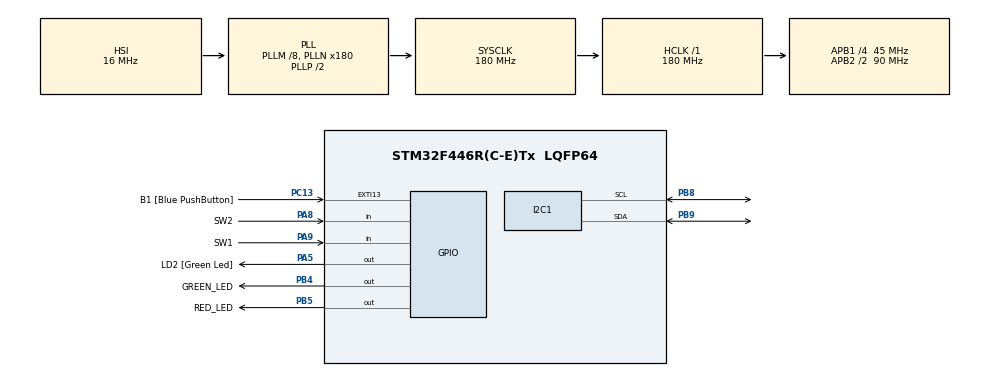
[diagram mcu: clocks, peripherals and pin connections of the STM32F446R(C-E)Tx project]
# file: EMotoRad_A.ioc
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Mcu.Family=STM32F4
Mcu.Name=STM32F446R(C-E)Tx
Mcu.Package=LQFP64
NVIC.PriorityGroup=NVIC_PRIORITYGROUP_4
NVIC.TIM6_DAC_IRQn=true\:15\:0\:false\:false\:true\:false\:true\:true
NVIC.TimeBase=TIM6_DAC_IRQn
NVIC.TimeBaseIP=TIM6
PA13.GPIO_Label=TMS
PA13.Signal=SYS_JTMS-SWDIO
PA14.GPIO_Label=TCK
PA14.Signal=SYS_JTCK-SWCLK
PA2.GPIO_Label=USART_TX
PA2.Signal=USART2_TX
PA3.GPIO_Label=USART_RX
PA3.Signal=USART2_RX
PA5.GPIO_Label=LD2 [Green Led]
PA5.Signal=GPIO_Output
PA8.GPIO_Label=SW2
PA8.Signal=GPIO_Input
PA9.GPIO_Label=SW1
PA9.Signal=GPIO_Input
PB3.GPIO_Label=SWO
PB3.Signal=SYS_JTDO-SWO
PB4.GPIO_Label=GREEN_LED
PB4.Signal=GPIO_Output
PB5.GPIO_Label=RED_LED
PB5.Signal=GPIO_Output
PB8.Mode=I2C
PB8.Signal=I2C1_SCL
PB9.Mode=I2C
PB9.Signal=I2C1_SDA
PC13.GPIO_Label=B1 [Blue PushButton]
PC13.GPIO_ModeDefaultEXTI=GPIO_MODE_IT_FALLING
PC13.Signal=GPXTI13
PC14-OSC32_IN.Signal=RCC_OSC32_IN
PC15-OSC32_OUT.Signal=RCC_OSC32_OUT
PH0-OSC_IN.Signal=RCC_OSC_IN
PH1-OSC_OUT.Signal=RCC_OSC_OUT
ProjectManager.HeapSize=0x200
ProjectManager.StackSize=0x400
ProjectManager.TargetToolchain=STM32CubeIDE
RCC.AHBFreq_Value=180000000
RCC.APB1CLKDivider=RCC_HCLK_DIV4
RCC.APB1Freq_Value=45000000
RCC.APB1TimFreq_Value=90000000
RCC.APB2CLKDivider=RCC_HCLK_DIV2
RCC.APB2Freq_Value=90000000
RCC.APB2TimFreq_Value=180000000
RCC.CortexFreq_Value=180000000
RCC.FLatency-AdvancedSettings=FLASH_LATENCY_5
RCC.HCLKFreq_Value=180000000
RCC.HSE_VALUE=8000000
RCC.HSI_VALUE=16000000
RCC.LSE_VALUE=32768
RCC.PLLM=8
RCC.PLLN=180
RCC.SYSCLKFreq_VALUE=180000000
RCC.SYSCLKSource=RCC_SYSCLKSOURCE_PLLCLK
RCC.USBFreq_Value=180000000
RCC.VCOOutputFreq_Value=360000000
VP_SYS_VS_tim6.Mode=TIM6
board=NUCLEO-F446RE

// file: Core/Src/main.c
/* USER CODE BEGIN Header */
/**
  ******************************************************************************
  * @file           : main.c
  * @brief          : Main program body
  ******************************************************************************
  * @attention
  *
  * Copyright (c) 2024 STMicroelectronics.
  * All rights reserved.
  *
  * This software is licensed under terms that can be found in the LICENSE file
  * in the root directory of this software component.
  * If no LICENSE file comes with this software, it is provided AS-IS.
  *
  ******************************************************************************
  */
/* USER CODE END Header */
#include "main.h"

/* USER CODE BEGIN Includes */
#include "FreeRTOS.h"
#include "task.h"
#include "16x2_LCD.h"
/* USER CODE END Includes */

/* USER CODE BEGIN PD */
#define DWT_CTRL 					(*(volatile unsigned int *)0xE0001000)

#define SW1_PRESSED					0UL
#define SW2_PRESSED					1UL
#define BOTH_SW_PRESSED				2UL
#define NO_SW_PRESSED				3UL
#define NO_SW_PRESSED_RED_HIGH		4UL
#define NO_SW_PRESSED_GREEN_HIGH	5UL

#define CONTROL_NO_SW_PRESS_TIME	1000UL

/* USER CODE END PD */

I2C_HandleTypeDef hi2c1;

/* USER CODE BEGIN PV */

TaskHandle_t sw_press_handle;
TaskHandle_t led_control_handle;
TaskHandle_t lcd_update_handle;

uint8_t switch_status[4];

/* USER CODE END PV */

void SystemClock_Config(void);
static void MX_GPIO_Init(void);
static void MX_I2C1_Init(void);
/* USER CODE BEGIN PFP */

static void sw_press(void *param);
static void led_control(void *param);
static void lcd_update(void *param);

/* USER CODE END PFP */

int main(void)
{

  /* MCU Configuration--------------------------------------------------------*/

  /* Reset of all peripherals, Initializes the Flash interface and the Systick. */
  HAL_Init();

  /* Configure the system clock */
  SystemClock_Config();

  /* Initialize all configured peripherals */
  MX_GPIO_Init();
  MX_I2C1_Init();
  /* USER CODE BEGIN 2 */

  LCD_init();
  LCD_send_string("EMotoRad Assign");
  LCD_send_command(ROW_2);
  LCD_send_string("Sanket Gunjal");

  HAL_Delay(1000);
  /*	Contains status of the newly created task	*/
  BaseType_t stat;

  DWT_CTRL |= (1 << 0);					// Used by segger system view to enable the cyclic count

  SEGGER_SYSVIEW_Conf();
  SEGGER_SYSVIEW_Start();

  /*	Create a task for the Switch Press	*/
  stat = xTaskCreate(sw_press, "Switch Press", 128, NULL, 4, &sw_press_handle);
  configASSERT(stat == pdPASS);

  stat = xTaskCreate(led_control, "LED Control", 128, NULL, 2, &led_control_handle);
  configASSERT(stat == pdPASS);

  stat = xTaskCreate(lcd_update, "LCD Update", 128, NULL, 3, &lcd_update_handle);
  configASSERT(stat == pdPASS);

  /*	Start the scheduler	*/
  vTaskStartScheduler();

  /* USER CODE END 2 */

  /* Infinite loop */
  while (1)
  {

  }
}

void SystemClock_Config(void)
{
  RCC_OscInitTypeDef RCC_OscInitStruct = {0};
  RCC_ClkInitTypeDef RCC_ClkInitStruct = {0};

  /** Configure the main internal regulator output voltage
  */
  __HAL_RCC_PWR_CLK_ENABLE();
  __HAL_PWR_VOLTAGESCALING_CONFIG(PWR_REGULATOR_VOLTAGE_SCALE1);

  /** Initializes the RCC Oscillators according to the specified parameters
  * in the RCC_OscInitTypeDef structure.
  */
  RCC_OscInitStruct.OscillatorType = RCC_OSCILLATORTYPE_HSI;
  RCC_OscInitStruct.HSIState = RCC_HSI_ON;
  RCC_OscInitStruct.HSICalibrationValue = RCC_HSICALIBRATION_DEFAULT;
  RCC_OscInitStruct.PLL.PLLState = RCC_PLL_ON;
  RCC_OscInitStruct.PLL.PLLSource = RCC_PLLSOURCE_HSI;
  RCC_OscInitStruct.PLL.PLLM = 8;
  RCC_OscInitStruct.PLL.PLLN = 180;
  RCC_OscInitStruct.PLL.PLLP = RCC_PLLP_DIV2;
  RCC_OscInitStruct.PLL.PLLQ = 2;
  RCC_OscInitStruct.PLL.PLLR = 2;
  if (HAL_RCC_OscConfig(&RCC_OscInitStruct) != HAL_OK)
  {
    Error_Handler();
  }

  /** Activate the Over-Drive mode
  */
  if (HAL_PWREx_EnableOverDrive() != HAL_OK)
  {
    Error_Handler();
  }

  /** Initializes the CPU, AHB and APB buses clocks
  */
  RCC_ClkInitStruct.ClockType = RCC_CLOCKTYPE_HCLK|RCC_CLOCKTYPE_SYSCLK
                              |RCC_CLOCKTYPE_PCLK1|RCC_CLOCKTYPE_PCLK2;
  RCC_ClkInitStruct.SYSCLKSource = RCC_SYSCLKSOURCE_PLLCLK;
  RCC_ClkInitStruct.AHBCLKDivider = RCC_SYSCLK_DIV1;
  RCC_ClkInitStruct.APB1CLKDivider = RCC_HCLK_DIV4;
  RCC_ClkInitStruct.APB2CLKDivider = RCC_HCLK_DIV2;

  if (HAL_RCC_ClockConfig(&RCC_ClkInitStruct, FLASH_LATENCY_5) != HAL_OK)
  {
    Error_Handler();
  }
}

static void MX_I2C1_Init(void)
{

  hi2c1.Instance = I2C1;
  hi2c1.Init.ClockSpeed = 100000;
  hi2c1.Init.DutyCycle = I2C_DUTYCYCLE_2;
  hi2c1.Init.OwnAddress1 = 0;
  hi2c1.Init.AddressingMode = I2C_ADDRESSINGMODE_7BIT;
  hi2c1.Init.DualAddressMode = I2C_DUALADDRESS_DISABLE;
  hi2c1.Init.OwnAddress2 = 0;
  hi2c1.Init.GeneralCallMode = I2C_GENERALCALL_DISABLE;
  hi2c1.Init.NoStretchMode = I2C_NOSTRETCH_DISABLE;
  if (HAL_I2C_Init(&hi2c1) != HAL_OK)
  {
    Error_Handler();
  }

}

static void MX_GPIO_Init(void)
{
  GPIO_InitTypeDef GPIO_InitStruct = {0};

  /* GPIO Ports Clock Enable */
  __HAL_RCC_GPIOC_CLK_ENABLE();
  __HAL_RCC_GPIOH_CLK_ENABLE();
  __HAL_RCC_GPIOA_CLK_ENABLE();
  __HAL_RCC_GPIOB_CLK_ENABLE();

  /*Configure GPIO pin Output Level */
  HAL_GPIO_WritePin(LD2_GPIO_Port, LD2_Pin, GPIO_PIN_RESET);

  /*Configure GPIO pin Output Level */
  HAL_GPIO_WritePin(GPIOB, GREEN_LED_Pin|RED_LED_Pin, GPIO_PIN_RESET);

  /*Configure GPIO pin : B1_Pin */
  GPIO_InitStruct.Pin = B1_Pin;
  GPIO_InitStruct.Mode = GPIO_MODE_IT_FALLING;
  GPIO_InitStruct.Pull = GPIO_NOPULL;
  HAL_GPIO_Init(B1_GPIO_Port, &GPIO_InitStruct);

  /*Configure GPIO pins : USART_TX_Pin USART_RX_Pin */
  GPIO_InitStruct.Pin = USART_TX_Pin|USART_RX_Pin;
  GPIO_InitStruct.Mode = GPIO_MODE_AF_PP;
  GPIO_InitStruct.Pull = GPIO_NOPULL;
  GPIO_InitStruct.Speed = GPIO_SPEED_FREQ_VERY_HIGH;
  GPIO_InitStruct.Alternate = GPIO_AF7_USART2;
  HAL_GPIO_Init(GPIOA, &GPIO_InitStruct);

  /*Configure GPIO pin : LD2_Pin */
  GPIO_InitStruct.Pin = LD2_Pin;
  GPIO_InitStruct.Mode = GPIO_MODE_OUTPUT_PP;
  GPIO_InitStruct.Pull = GPIO_NOPULL;
  GPIO_InitStruct.Speed = GPIO_SPEED_FREQ_LOW;
  HAL_GPIO_Init(LD2_GPIO_Port, &GPIO_InitStruct);

  /*Configure GPIO pins : SW2_Pin SW1_Pin */
  GPIO_InitStruct.Pin = SW2_Pin|SW1_Pin;
  GPIO_InitStruct.Mode = GPIO_MODE_INPUT;
  GPIO_InitStruct.Pull = GPIO_NOPULL;
  HAL_GPIO_Init(GPIOA, &GPIO_InitStruct);

  /*Configure GPIO pins : GREEN_LED_Pin RED_LED_Pin */
  GPIO_InitStruct.Pin = GREEN_LED_Pin|RED_LED_Pin;
  GPIO_InitStruct.Mode = GPIO_MODE_OUTPUT_PP;
  GPIO_InitStruct.Pull = GPIO_NOPULL;
  GPIO_InitStruct.Speed = GPIO_SPEED_FREQ_LOW;
  HAL_GPIO_Init(GPIOB, &GPIO_InitStruct);

}

/* USER CODE BEGIN 4 */
static void sw_press(void *param){

	/*	prev_press are for debouncing	*/
	uint8_t sw1_prev_press, sw2_prev_press;
	uint8_t sw1_curr_press, sw2_curr_press;

	/*	pull-up on switch	*/
	sw1_prev_press = 1;
	sw2_prev_press = 1;

	while(1){

		sw1_curr_press = HAL_GPIO_ReadPin(SW1_GPIO_Port, SW1_Pin);			// If pressed, state = 0!
		sw2_curr_press = HAL_GPIO_ReadPin(SW2_GPIO_Port, SW2_Pin);

		/*	Check if both switch pressed, sw1 pressed only, sw2 pressed only	*/
		if((sw1_curr_press == GPIO_PIN_RESET && sw1_prev_press == GPIO_PIN_SET) && (sw2_curr_press == GPIO_PIN_RESET && sw2_prev_press == GPIO_PIN_SET)){
			xTaskNotify(led_control_handle, BOTH_SW_PRESSED, eSetValueWithOverwrite);
		}
		else if((sw1_curr_press == GPIO_PIN_RESET && sw1_prev_press == GPIO_PIN_SET) && (sw2_curr_press == GPIO_PIN_SET && sw2_prev_press == GPIO_PIN_SET)){
			xTaskNotify(led_control_handle, SW1_PRESSED, eSetValueWithOverwrite);
		}
		else if((sw1_curr_press == GPIO_PIN_SET && sw1_prev_press == GPIO_PIN_SET) && (sw2_curr_press == GPIO_PIN_RESET && sw2_prev_press == GPIO_PIN_SET)){
			xTaskNotify(led_control_handle, SW2_PRESSED, eSetValueWithOverwrite);
		}

		sw1_prev_press = sw1_curr_press;
		sw2_prev_press = sw2_curr_press;

		vTaskDelay(pdMS_TO_TICKS(100));
	}

}

static void led_control(void *param){
	uint32_t notify_val;
	BaseType_t stat;
	uint8_t flag = 1;

	while(1){
		stat = xTaskNotifyWait(0, 0, &notify_val, pdMS_TO_TICKS(CONTROL_NO_SW_PRESS_TIME));
		if(stat == pdTRUE){
			// Event Occured!
			stat = 0;
			/*	If both Switch are not pressed at the same time, reset the state of LEDs	*/
			if(notify_val != BOTH_SW_PRESSED){
				HAL_GPIO_WritePin(LD2_GPIO_Port, LD2_Pin, GPIO_PIN_RESET);
				HAL_GPIO_WritePin(RED_LED_GPIO_Port, RED_LED_Pin, GPIO_PIN_RESET);
			}
			else{
				// Both switch are pressed at the same time!
				xTaskNotify(lcd_update_handle, BOTH_SW_PRESSED, eSetValueWithOverwrite);
			}

			switch(notify_val){
				case SW1_PRESSED:{
					// Send the notification to the LCD Update function
					xTaskNotify(lcd_update_handle, SW1_PRESSED, eSetValueWithOverwrite);
					HAL_GPIO_WritePin(RED_LED_GPIO_Port, RED_LED_Pin, GPIO_PIN_SET);
					break;
				}

				case SW2_PRESSED:{
					// Send the notification to the LCD Update function
					xTaskNotify(lcd_update_handle, SW2_PRESSED, eSetValueWithOverwrite);
					HAL_GPIO_WritePin(LD2_GPIO_Port, LD2_Pin, GPIO_PIN_SET);
					break;
				}

				default:{
					break;
				}
			}
		}
		else{
			if(flag){
				xTaskNotify(lcd_update_handle, NO_SW_PRESSED_RED_HIGH, eSetValueWithOverwrite);
				HAL_GPIO_WritePin(RED_LED_GPIO_Port, RED_LED_Pin, GPIO_PIN_SET);
				HAL_GPIO_WritePin(LD2_GPIO_Port, LD2_Pin, GPIO_PIN_RESET);
				flag = 0;
			}
			else{
				xTaskNotify(lcd_update_handle, NO_SW_PRESSED_GREEN_HIGH, eSetValueWithOverwrite);
				HAL_GPIO_WritePin(RED_LED_GPIO_Port, RED_LED_Pin, GPIO_PIN_RESET);
				HAL_GPIO_WritePin(LD2_GPIO_Port, LD2_Pin, GPIO_PIN_SET);
				flag = 1;
			}
		}
	}
}

static void lcd_update(void *param){

	uint32_t notify_val;
	BaseType_t stat;

	while(1){
		/*	Wait Indefinitely for a notification*/
		stat = xTaskNotifyWait(0, 0, &notify_val, portMAX_DELAY);
		if(stat == pdTRUE){
			stat = 0;
			switch(notify_val){
				case NO_SW_PRESSED_RED_HIGH:{
					LCD_send_command(CLEAR_SCREEN);
					HAL_Delay(2);
					LCD_send_command(ROW_1);
					LCD_send_string("Act: No SW");
					LCD_send_command(ROW_2);
					LCD_send_string("Stat: Red HIGH");
					break;
				}

				case NO_SW_PRESSED_GREEN_HIGH: {
					LCD_send_command(CLEAR_SCREEN);
					HAL_Delay(2);
					LCD_send_command(ROW_1);
					LCD_send_string("Act: No SW");
					LCD_send_command(ROW_2);
					LCD_send_string("Stat: Green HIGH");
					break;
				}
				case SW1_PRESSED:{
					LCD_send_command(CLEAR_SCREEN);
					HAL_Delay(2);
					LCD_send_command(ROW_1);
					LCD_send_string("Act: SW1 HIGH");
					LCD_send_command(ROW_2);
					LCD_send_string("Stat: RED HIGH");
					break;
				}

				case SW2_PRESSED:{
					LCD_send_command(CLEAR_SCREEN);
					HAL_Delay(2);
					LCD_send_command(ROW_1);
					LCD_send_string("Act: SW2 HIGH");
					LCD_send_command(ROW_2);
					LCD_send_string("Stat: GREEN HIGH");
					break;
				}

				case BOTH_SW_PRESSED:{
					LCD_send_command(CLEAR_SCREEN);
					HAL_Delay(2);
					LCD_send_command(ROW_1);
					LCD_send_string("Act: SW1 & SW2");
					LCD_send_command(ROW_2);
					LCD_send_string("Stat: No Change");
					break;
				}
			}
		}
	}
}
/* USER CODE END 4 */

void HAL_TIM_PeriodElapsedCallback(TIM_HandleTypeDef *htim)
{
  if (htim->Instance == TIM6) {
    HAL_IncTick();
  }
}

void Error_Handler(void)
{
  __disable_irq();
  while (1)
  {
  }
}
